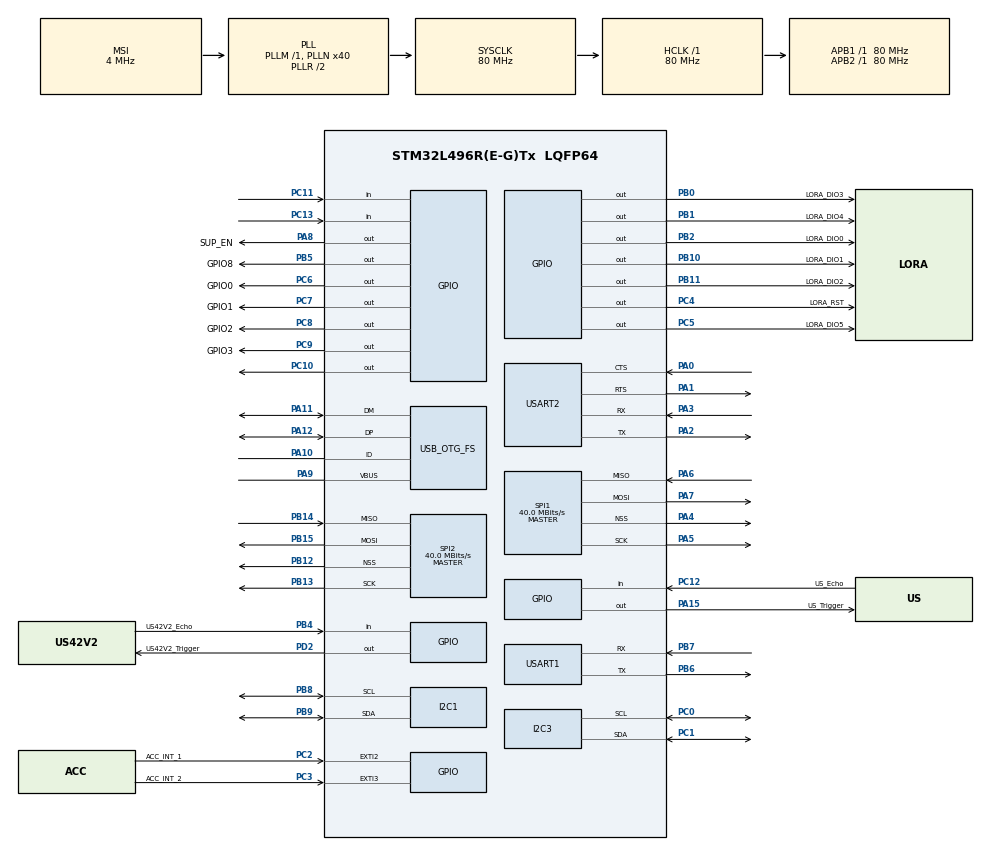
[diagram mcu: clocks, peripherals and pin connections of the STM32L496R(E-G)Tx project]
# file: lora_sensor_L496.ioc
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Mcu.Family=STM32L4
Mcu.Name=STM32L496R(E-G)Tx
Mcu.Package=LQFP64
NVIC.PriorityGroup=NVIC_PRIORITYGROUP_4
PA0.Mode=CTS_RTS
PA0.Signal=USART2_CTS
PA1.Mode=CTS_RTS
PA1.Signal=USART2_RTS
PA10.Mode=OTG/Dual_Role_Device
PA10.Signal=USB_OTG_FS_ID
PA11.Mode=OTG/Dual_Role_Device
PA11.Signal=USB_OTG_FS_DM
PA12.Mode=OTG/Dual_Role_Device
PA12.Signal=USB_OTG_FS_DP
PA13\ (JTMS/SWDIO).Mode=Trace_Asynchronous_SW
PA13\ (JTMS/SWDIO).Signal=SYS_JTMS-SWDIO
PA14\ (JTCK/SWCLK).Mode=Trace_Asynchronous_SW
PA14\ (JTCK/SWCLK).Signal=SYS_JTCK-SWCLK
PA15\ (JTDI).GPIO_Label=US_Trigger
PA15\ (JTDI).Signal=GPIO_Output
PA2.Mode=Asynchronous
PA2.Signal=USART2_TX
PA3.Mode=Asynchronous
PA3.Signal=USART2_RX
PA4.Mode=NSS_Signal_Hard_Output
PA4.Signal=SPI1_NSS
PA5.Mode=Full_Duplex_Master
PA5.Signal=SPI1_SCK
PA6.Mode=Full_Duplex_Master
PA6.Signal=SPI1_MISO
PA7.Mode=Full_Duplex_Master
PA7.Signal=SPI1_MOSI
PA8.GPIO_Label=SUP_EN
PA8.Signal=GPIO_Output
PA9.Mode=Activate_VBUS
PA9.Signal=USB_OTG_FS_VBUS
PB0.GPIO_Label=LORA_DIO3
PB0.Signal=GPIO_Output
PB1.GPIO_Label=LORA_DIO4
PB1.Signal=GPIO_Output
PB10.GPIO_Label=LORA_DIO1
PB10.Signal=GPIO_Output
PB11.GPIO_Label=LORA_DIO2
PB11.Signal=GPIO_Output
PB12.Mode=NSS_Signal_Hard_Output
PB12.Signal=SPI2_NSS
PB13.Mode=Full_Duplex_Master
PB13.Signal=SPI2_SCK
PB14.Mode=Full_Duplex_Master
PB14.Signal=SPI2_MISO
PB15.Mode=Full_Duplex_Master
PB15.Signal=SPI2_MOSI
PB2.GPIO_Label=LORA_DIO0
PB2.Signal=GPIO_Output
PB3\ (JTDO/TRACESWO).Mode=Trace_Asynchronous_SW
PB3\ (JTDO/TRACESWO).Signal=SYS_JTDO-SWO
PB4\ (NJTRST).GPIO_Label=US42V2_Echo
PB4\ (NJTRST).Signal=GPIO_Input
PB5.GPIO_Label=GPIO8
PB5.Signal=GPIO_Output
PB6.Mode=Asynchronous
PB6.Signal=USART1_TX
PB7.Mode=Asynchronous
PB7.Signal=USART1_RX
PB8.Mode=I2C
PB8.Signal=I2C1_SCL
PB9.Mode=I2C
PB9.Signal=I2C1_SDA
PC0.Mode=I2C
PC0.Signal=I2C3_SCL
PC1.Mode=I2C
PC1.Signal=I2C3_SDA
PC10.Signal=GPIO_Output
PC11.Signal=GPIO_Input
PC12.GPIO_Label=US_Echo
PC12.Signal=GPIO_Input
PC13.Signal=GPIO_Input
PC14-OSC32_IN\ (PC14).Mode=LSE-External-Oscillator
PC14-OSC32_IN\ (PC14).Signal=RCC_OSC32_IN
PC15-OSC32_OUT\ (PC15).Mode=LSE-External-Oscillator
PC15-OSC32_OUT\ (PC15).Signal=RCC_OSC32_OUT
PC2.GPIO_Label=ACC_INT_1
PC2.Signal=GPXTI2
PC3.GPIO_Label=ACC_INT_2
PC3.Signal=GPXTI3
PC4.GPIO_Label=LORA_RST
PC4.Signal=GPIO_Output
PC5.GPIO_Label=LORA_DIO5
PC5.Signal=GPIO_Output
PC6.GPIO_Label=GPIO0
PC6.Signal=GPIO_Output
PC7.GPIO_Label=GPIO1
PC7.Signal=GPIO_Output
PC8.GPIO_Label=GPIO2
PC8.Signal=GPIO_Output
PC9.GPIO_Label=GPIO3
PC9.Signal=GPIO_Output
PD2.GPIO_Label=US42V2_Trigger
PD2.Signal=GPIO_Output
PH0-OSC_IN\ (PH0).Mode=HSE-External-Oscillator
PH0-OSC_IN\ (PH0).Signal=RCC_OSC_IN
PH1-OSC_OUT\ (PH1).Mode=HSE-External-Oscillator
PH1-OSC_OUT\ (PH1).Signal=RCC_OSC_OUT
ProjectManager.HeapSize=0x200
ProjectManager.StackSize=0x400
ProjectManager.TargetToolchain=Makefile
RCC.ADCFreq_Value=48000000
RCC.AHBFreq_Value=80000000
RCC.APB1Freq_Value=80000000
RCC.APB1TimFreq_Value=80000000
RCC.APB2Freq_Value=80000000
RCC.APB2TimFreq_Value=80000000
RCC.CortexFreq_Value=80000000
RCC.HCLKFreq_Value=80000000
RCC.HSE_VALUE=8000000
RCC.HSI48_VALUE=48000000
RCC.HSI_VALUE=16000000
RCC.MSI_VALUE=4000000
RCC.PLLN=40
RCC.PLLSAI1N=24
RCC.SYSCLKFreq_VALUE=80000000
RCC.SYSCLKSource=RCC_SYSCLKSOURCE_PLLCLK
RCC.USBFreq_Value=48000000
RCC.VCOOutputFreq_Value=160000000
SPI1.CalculateBaudRate=40.0 MBits/s
SPI1.Direction=SPI_DIRECTION_2LINES
SPI1.Mode=SPI_MODE_MASTER
SPI1.VirtualNSS=VM_NSSHARD
SPI1.VirtualType=VM_MASTER
SPI2.CalculateBaudRate=40.0 MBits/s
SPI2.Direction=SPI_DIRECTION_2LINES
SPI2.Mode=SPI_MODE_MASTER
SPI2.VirtualNSS=VM_NSSHARD
SPI2.VirtualType=VM_MASTER
USART1.VirtualMode-Asynchronous=VM_ASYNC
USART2.VirtualMode-Asynchronous=VM_ASYNC
board=custom

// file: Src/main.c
/* USER CODE BEGIN Header */
/**
 ******************************************************************************
 * @file           : main.c
 * @brief          : Main program body
 ******************************************************************************
 * @attention
 *
 * <h2><center>&copy; Copyright (c) 2020 STMicroelectronics.
 * All rights reserved.</center></h2>
 *
 * This software component is licensed by ST under BSD 3-Clause license,
 * the "License"; You may not use this file except in compliance with the
 * License. You may obtain a copy of the License at:
 *                        opensource.org/licenses/BSD-3-Clause
 *
 ******************************************************************************
 */
/* USER CODE END Header */

#include "main.h"

/* USER CODE BEGIN Includes */
#include "dwt_stm32_delay.h"
#include "time.h"

/* USER CODE END Includes */

/* USER CODE BEGIN PD */
#define SensorAddress 0xE0
#define RangeCommand 0x51
/* USER CODE END PD */

I2C_HandleTypeDef hi2c1;
I2C_HandleTypeDef hi2c3;

SPI_HandleTypeDef hspi1;
SPI_HandleTypeDef hspi2;

UART_HandleTypeDef huart1;
UART_HandleTypeDef huart2;

/* USER CODE BEGIN PV */
uint16_t dev = 0x52;
int status = 0;
volatile int IntCount;

/* USER CODE END PV */

void SystemClock_Config(void);
static void MX_GPIO_Init(void);
static void MX_I2C1_Init(void);
static void MX_I2C3_Init(void);
static void MX_SPI1_Init(void);
static void MX_SPI2_Init(void);
static void MX_USART1_UART_Init(void);
static void MX_USART2_UART_Init(void);
static void MX_USB_OTG_FS_USB_Init(void);
/* USER CODE BEGIN PFP */
uint32_t test_sensor_rcw001(void);
uint32_t test_sensor_us100(void);
uint32_t test_sensor_us42v2(void);
uint32_t OnMeasureTimerEvent(void *context);
/* USER CODE END PFP */

int main(void) {
	/* USER CODE BEGIN 1 */

	uint8_t byteData, sensorState = 0;
	uint16_t wordData;
	uint8_t ToFSensor = 1; // 0=Left, 1=Center(default), 2=Right
	uint16_t Distance;
	uint16_t SignalRate;
	uint16_t AmbientRate;
	uint16_t SpadNum;
	uint8_t RangeStatus;
	uint8_t dataReady;
	uint8_t distanceMode;

	/* USER CODE END 1 */

	/* MCU Configuration--------------------------------------------------------*/

	/* Reset of all peripherals, Initializes the Flash interface and the Systick. */
	HAL_Init();

	/* Configure the system clock */
	SystemClock_Config();

	/* Initialize all configured peripherals */
	MX_GPIO_Init();
	MX_I2C1_Init();
	MX_I2C3_Init();
	MX_SPI1_Init();
	MX_SPI2_Init();
	MX_USART1_UART_Init();
	MX_USART2_UART_Init();
	MX_USB_OTG_FS_USB_Init();
	/* USER CODE BEGIN 2 */
	SEGGER_RTT_Init();
	XNUCLEO53L1A1_Init();
	uint32_t distance_rcw001;
	uint32_t distance_us100;
	uint32_t distance_us42v2;

	/* Those basic I2C read functions can be used to check youDWT_Delay_Init();r own I2C functions */
	status = VL53L1_RdByte(dev, 0x010F, &byteData);
	SEGGER_RTT_printf(0, "VL53L1X Model_ID: %X\n", byteData);
	status = VL53L1_RdByte(dev, 0x0110, &byteData);
	SEGGER_RTT_printf(0, "VL53L1X Module_Type: %X\n", byteData);
	status = VL53L1_RdWord(dev, 0x010F, &wordData);
	SEGGER_RTT_printf(0, "VL53L1X: %X\n", wordData);
	while (sensorState == 0) {
		status = VL53L1X_BootState(dev, &sensorState);
		HAL_Delay(2);
	}
	SEGGER_RTT_printf(0, "Chip booted\n");
	/* This function must to be called to initialize the sensor with the default setting  */
	status = VL53L1X_SensorInit(dev);
	/* Optional functions to be used to change the main ranging parameters according the application requirements to get the best ranging performances */
	status = VL53L1X_SetDistanceMode(dev, 2); /* 1=short, 2=long */
	status = VL53L1X_SetTimingBudgetInMs(dev, 100); /* in ms possible values [20, 50, 100, 200, 500] */
	status = VL53L1X_SetInterMeasurementInMs(dev, 100); /* in ms, IM must be > = TB */
	//  status = VL53L1X_SetOffset(dev,20); /* offset compensation in mm */
	//  status = VL53L1X_SetROI(dev, 16, 16); /* minimum ROI 4,4 */
	//	status = VL53L1X_CalibrateOffset(dev, 140, &offset); /* may take few second to perform the offset cal*/
	//	status = VL53L1X_CalibrateXtalk(dev, 1000, &xtalk); /* may take few second to perform the xtalk cal */
	SEGGER_RTT_printf(0, "VL53L1X Ultra Lite Driver Example running ...\n");
	status = VL53L1X_StartRanging(dev); /* This function has to be called to enable the ranging */

	/* USER CODE END 2 */

	/* Infinite loop */
	while (1) {

		/* USER CODE BEGIN 3 */
		while (dataReady == 0) {
			status = VL53L1X_CheckForDataReady(dev, &dataReady);
			HAL_Delay(2);
		}
		dataReady = 0;
		//		status = VL53L1X_GetRangeStatus(dev, &RangeStatus);
		status = VL53L1X_GetDistance(dev, &Distance);
		//		status = VL53L1X_GetSignalRate(dev, &SignalRate);
		//		status = VL53L1X_GetAmbientRate(dev, &AmbientRate);
		//		status = VL53L1X_GetSpadNb(dev, &SpadNum);
		//		status = VL53L1X_SetDistanceMode(dev, distanceMode);
		//		status = VL53L1X_ClearInterrupt(dev); /* clear interrupt has to be called to enable next interrupt*/
		//		SEGGER_RTT_printf(0,
		//				"RangeStatus =%u, Distance= %u, SignalRate = %u, AmbientRate = %u, SpadNum = %u, DistanceMode = %u\n",
		//				RangeStatus, Distance, SignalRate, AmbientRate, SpadNum,
		//				distanceMode);
//		distance_us100 = test_sensor_us100();
		distance_rcw001 = test_sensor_rcw001();

		distance_us42v2 = OnMeasureTimerEvent("Hung");
		SEGGER_RTT_printf(0,
				"Distance from VL53L1X is : %u , Distance from RCW001 is : %u , Distance from US-100 is : %u , Distance from US-42V2 is : %u\n",
				Distance, distance_rcw001, distance_us100, distance_us42v2);
		HAL_Delay(200);
	}
	/* USER CODE END 3 */
}

void SystemClock_Config(void) {
	RCC_OscInitTypeDef RCC_OscInitStruct = { 0 };
	RCC_ClkInitTypeDef RCC_ClkInitStruct = { 0 };
	RCC_PeriphCLKInitTypeDef PeriphClkInit = { 0 };

	/** Configure LSE Drive Capability
	 */
	HAL_PWR_EnableBkUpAccess();
	__HAL_RCC_LSEDRIVE_CONFIG(RCC_LSEDRIVE_LOW);
	/** Initializes the CPU, AHB and APB busses clocks
	 */
	RCC_OscInitStruct.OscillatorType = RCC_OSCILLATORTYPE_LSE
			| RCC_OSCILLATORTYPE_MSI;
	RCC_OscInitStruct.LSEState = RCC_LSE_ON;
	RCC_OscInitStruct.MSIState = RCC_MSI_ON;
	RCC_OscInitStruct.MSICalibrationValue = 0;
	RCC_OscInitStruct.MSIClockRange = RCC_MSIRANGE_6;
	RCC_OscInitStruct.PLL.PLLState = RCC_PLL_ON;
	RCC_OscInitStruct.PLL.PLLSource = RCC_PLLSOURCE_MSI;
	RCC_OscInitStruct.PLL.PLLM = 1;
	RCC_OscInitStruct.PLL.PLLN = 40;
	RCC_OscInitStruct.PLL.PLLP = RCC_PLLP_DIV2;
	RCC_OscInitStruct.PLL.PLLQ = RCC_PLLQ_DIV2;
	RCC_OscInitStruct.PLL.PLLR = RCC_PLLR_DIV2;
	if (HAL_RCC_OscConfig(&RCC_OscInitStruct) != HAL_OK) {
		Error_Handler();
	}
	/** Initializes the CPU, AHB and APB busses clocks
	 */
	RCC_ClkInitStruct.ClockType = RCC_CLOCKTYPE_HCLK | RCC_CLOCKTYPE_SYSCLK
			| RCC_CLOCKTYPE_PCLK1 | RCC_CLOCKTYPE_PCLK2;
	RCC_ClkInitStruct.SYSCLKSource = RCC_SYSCLKSOURCE_PLLCLK;
	RCC_ClkInitStruct.AHBCLKDivider = RCC_SYSCLK_DIV1;
	RCC_ClkInitStruct.APB1CLKDivider = RCC_HCLK_DIV1;
	RCC_ClkInitStruct.APB2CLKDivider = RCC_HCLK_DIV1;

	if (HAL_RCC_ClockConfig(&RCC_ClkInitStruct, FLASH_LATENCY_4) != HAL_OK) {
		Error_Handler();
	}
	PeriphClkInit.PeriphClockSelection = RCC_PERIPHCLK_USART1
			| RCC_PERIPHCLK_USART2 | RCC_PERIPHCLK_I2C1 | RCC_PERIPHCLK_I2C3
			| RCC_PERIPHCLK_USB;
	PeriphClkInit.Usart1ClockSelection = RCC_USART1CLKSOURCE_PCLK2;
	PeriphClkInit.Usart2ClockSelection = RCC_USART2CLKSOURCE_PCLK1;
	PeriphClkInit.I2c1ClockSelection = RCC_I2C1CLKSOURCE_PCLK1;
	PeriphClkInit.I2c3ClockSelection = RCC_I2C3CLKSOURCE_PCLK1;
	PeriphClkInit.UsbClockSelection = RCC_USBCLKSOURCE_PLLSAI1;
	PeriphClkInit.PLLSAI1.PLLSAI1Source = RCC_PLLSOURCE_MSI;
	PeriphClkInit.PLLSAI1.PLLSAI1M = 1;
	PeriphClkInit.PLLSAI1.PLLSAI1N = 24;
	PeriphClkInit.PLLSAI1.PLLSAI1P = RCC_PLLP_DIV2;
	PeriphClkInit.PLLSAI1.PLLSAI1Q = RCC_PLLQ_DIV2;
	PeriphClkInit.PLLSAI1.PLLSAI1R = RCC_PLLR_DIV2;
	PeriphClkInit.PLLSAI1.PLLSAI1ClockOut = RCC_PLLSAI1_48M2CLK;
	if (HAL_RCCEx_PeriphCLKConfig(&PeriphClkInit) != HAL_OK) {
		Error_Handler();
	}
	/** Configure the main internal regulator output voltage
	 */
	if (HAL_PWREx_ControlVoltageScaling(PWR_REGULATOR_VOLTAGE_SCALE1)
			!= HAL_OK) {
		Error_Handler();
	}
	/** Enable MSI Auto calibration
	 */
	HAL_RCCEx_EnableMSIPLLMode();
}

static void MX_I2C1_Init(void) {

	hi2c1.Instance = I2C1;
	hi2c1.Init.Timing = 0x10909CEC;
	hi2c1.Init.OwnAddress1 = 0;
	hi2c1.Init.AddressingMode = I2C_ADDRESSINGMODE_7BIT;
	hi2c1.Init.DualAddressMode = I2C_DUALADDRESS_DISABLE;
	hi2c1.Init.OwnAddress2 = 0;
	hi2c1.Init.OwnAddress2Masks = I2C_OA2_NOMASK;
	hi2c1.Init.GeneralCallMode = I2C_GENERALCALL_DISABLE;
	hi2c1.Init.NoStretchMode = I2C_NOSTRETCH_DISABLE;
	if (HAL_I2C_Init(&hi2c1) != HAL_OK) {
		Error_Handler();
	}
	/** Configure Analogue filter
	 */
	if (HAL_I2CEx_ConfigAnalogFilter(&hi2c1, I2C_ANALOGFILTER_ENABLE)
			!= HAL_OK) {
		Error_Handler();
	}
	/** Configure Digital filter
	 */
	if (HAL_I2CEx_ConfigDigitalFilter(&hi2c1, 0) != HAL_OK) {
		Error_Handler();
	}

}

static void MX_I2C3_Init(void) {

	hi2c3.Instance = I2C3;
	hi2c3.Init.Timing = 0x10909CEC;
	hi2c3.Init.OwnAddress1 = 0;
	hi2c3.Init.AddressingMode = I2C_ADDRESSINGMODE_7BIT;
	hi2c3.Init.DualAddressMode = I2C_DUALADDRESS_DISABLE;
	hi2c3.Init.OwnAddress2 = 0;
	hi2c3.Init.OwnAddress2Masks = I2C_OA2_NOMASK;
	hi2c3.Init.GeneralCallMode = I2C_GENERALCALL_DISABLE;
	hi2c3.Init.NoStretchMode = I2C_NOSTRETCH_DISABLE;
	if (HAL_I2C_Init(&hi2c3) != HAL_OK) {
		Error_Handler();
	}
	/** Configure Analogue filter
	 */
	if (HAL_I2CEx_ConfigAnalogFilter(&hi2c3, I2C_ANALOGFILTER_ENABLE)
			!= HAL_OK) {
		Error_Handler();
	}
	/** Configure Digital filter
	 */
	if (HAL_I2CEx_ConfigDigitalFilter(&hi2c3, 0) != HAL_OK) {
		Error_Handler();
	}

}

static void MX_SPI1_Init(void) {

	/* SPI1 parameter configuration*/
	hspi1.Instance = SPI1;
	hspi1.Init.Mode = SPI_MODE_MASTER;
	hspi1.Init.Direction = SPI_DIRECTION_2LINES;
	hspi1.Init.DataSize = SPI_DATASIZE_4BIT;
	hspi1.Init.CLKPolarity = SPI_POLARITY_LOW;
	hspi1.Init.CLKPhase = SPI_PHASE_1EDGE;
	hspi1.Init.NSS = SPI_NSS_HARD_OUTPUT;
	hspi1.Init.BaudRatePrescaler = SPI_BAUDRATEPRESCALER_2;
	hspi1.Init.FirstBit = SPI_FIRSTBIT_MSB;
	hspi1.Init.TIMode = SPI_TIMODE_DISABLE;
	hspi1.Init.CRCCalculation = SPI_CRCCALCULATION_DISABLE;
	hspi1.Init.CRCPolynomial = 7;
	hspi1.Init.CRCLength = SPI_CRC_LENGTH_DATASIZE;
	hspi1.Init.NSSPMode = SPI_NSS_PULSE_ENABLE;
	if (HAL_SPI_Init(&hspi1) != HAL_OK) {
		Error_Handler();
	}

}

static void MX_SPI2_Init(void) {

	/* SPI2 parameter configuration*/
	hspi2.Instance = SPI2;
	hspi2.Init.Mode = SPI_MODE_MASTER;
	hspi2.Init.Direction = SPI_DIRECTION_2LINES;
	hspi2.Init.DataSize = SPI_DATASIZE_4BIT;
	hspi2.Init.CLKPolarity = SPI_POLARITY_LOW;
	hspi2.Init.CLKPhase = SPI_PHASE_1EDGE;
	hspi2.Init.NSS = SPI_NSS_HARD_OUTPUT;
	hspi2.Init.BaudRatePrescaler = SPI_BAUDRATEPRESCALER_2;
	hspi2.Init.FirstBit = SPI_FIRSTBIT_MSB;
	hspi2.Init.TIMode = SPI_TIMODE_DISABLE;
	hspi2.Init.CRCCalculation = SPI_CRCCALCULATION_DISABLE;
	hspi2.Init.CRCPolynomial = 7;
	hspi2.Init.CRCLength = SPI_CRC_LENGTH_DATASIZE;
	hspi2.Init.NSSPMode = SPI_NSS_PULSE_ENABLE;
	if (HAL_SPI_Init(&hspi2) != HAL_OK) {
		Error_Handler();
	}

}

static void MX_USART1_UART_Init(void) {

	huart1.Instance = USART1;
	huart1.Init.BaudRate = 115200;
	huart1.Init.WordLength = UART_WORDLENGTH_8B;
	huart1.Init.StopBits = UART_STOPBITS_1;
	huart1.Init.Parity = UART_PARITY_NONE;
	huart1.Init.Mode = UART_MODE_TX_RX;
	huart1.Init.HwFlowCtl = UART_HWCONTROL_NONE;
	huart1.Init.OverSampling = UART_OVERSAMPLING_16;
	huart1.Init.OneBitSampling = UART_ONE_BIT_SAMPLE_DISABLE;
	huart1.AdvancedInit.AdvFeatureInit = UART_ADVFEATURE_NO_INIT;
	if (HAL_UART_Init(&huart1) != HAL_OK) {
		Error_Handler();
	}

}

static void MX_USART2_UART_Init(void) {

	huart2.Instance = USART2;
	huart2.Init.BaudRate = 115200;
	huart2.Init.WordLength = UART_WORDLENGTH_8B;
	huart2.Init.StopBits = UART_STOPBITS_1;
	huart2.Init.Parity = UART_PARITY_NONE;
	huart2.Init.Mode = UART_MODE_TX_RX;
	huart2.Init.HwFlowCtl = UART_HWCONTROL_RTS_CTS;
	huart2.Init.OverSampling = UART_OVERSAMPLING_16;
	huart2.Init.OneBitSampling = UART_ONE_BIT_SAMPLE_DISABLE;
	huart2.AdvancedInit.AdvFeatureInit = UART_ADVFEATURE_NO_INIT;
	if (HAL_UART_Init(&huart2) != HAL_OK) {
		Error_Handler();
	}

}

static void MX_USB_OTG_FS_USB_Init(void) {

}

static void MX_GPIO_Init(void) {
	GPIO_InitTypeDef GPIO_InitStruct = { 0 };

	/* GPIO Ports Clock Enable */
	__HAL_RCC_GPIOC_CLK_ENABLE();
	__HAL_RCC_GPIOH_CLK_ENABLE();
	__HAL_RCC_GPIOA_CLK_ENABLE();
	__HAL_RCC_GPIOB_CLK_ENABLE();
	__HAL_RCC_GPIOD_CLK_ENABLE();

	/*Configure GPIO pin Output Level */
	HAL_GPIO_WritePin(GPIOC,
			LORA_RST_Pin | LORA_DIO5_Pin | GPIO0_Pin | GPIO1_Pin | GPIO2_Pin
					| GPIO3_Pin | GPIO_PIN_10, GPIO_PIN_RESET);

	/*Configure GPIO pin Output Level */
	HAL_GPIO_WritePin(GPIOB,
			LORA_DIO3_Pin | LORA_DIO4_Pin | LORA_DIO0_Pin | LORA_DIO1_Pin
					| LORA_DIO2_Pin | GPIO8_Pin, GPIO_PIN_RESET);

	/*Configure GPIO pin Output Level */
	HAL_GPIO_WritePin(GPIOA, SUP_EN_Pin | US_Trigger_Pin, GPIO_PIN_RESET);

	/*Configure GPIO pin Output Level */
	HAL_GPIO_WritePin(US42V2_Trigger_GPIO_Port, US42V2_Trigger_Pin,
			GPIO_PIN_RESET);

	/*Configure GPIO pins : PC13 PC11 US_Echo_Pin */
	GPIO_InitStruct.Pin = GPIO_PIN_13 | GPIO_PIN_11 | US_Echo_Pin;
	GPIO_InitStruct.Mode = GPIO_MODE_INPUT;
	GPIO_InitStruct.Pull = GPIO_NOPULL;
	HAL_GPIO_Init(GPIOC, &GPIO_InitStruct);

	/*Configure GPIO pins : ACC_INT_1_Pin ACC_INT_2_Pin */
	GPIO_InitStruct.Pin = ACC_INT_1_Pin | ACC_INT_2_Pin;
	GPIO_InitStruct.Mode = GPIO_MODE_IT_RISING;
	GPIO_InitStruct.Pull = GPIO_NOPULL;
	HAL_GPIO_Init(GPIOC, &GPIO_InitStruct);

	/*Configure GPIO pins : LORA_RST_Pin LORA_DIO5_Pin GPIO0_Pin GPIO1_Pin
	 GPIO2_Pin GPIO3_Pin PC10 */
	GPIO_InitStruct.Pin = LORA_RST_Pin | LORA_DIO5_Pin | GPIO0_Pin | GPIO1_Pin
			| GPIO2_Pin | GPIO3_Pin | GPIO_PIN_10;
	GPIO_InitStruct.Mode = GPIO_MODE_OUTPUT_PP;
	GPIO_InitStruct.Pull = GPIO_NOPULL;
	GPIO_InitStruct.Speed = GPIO_SPEED_FREQ_LOW;
	HAL_GPIO_Init(GPIOC, &GPIO_InitStruct);

	/*Configure GPIO pins : LORA_DIO3_Pin LORA_DIO4_Pin LORA_DIO0_Pin LORA_DIO1_Pin
	 LORA_DIO2_Pin GPIO8_Pin */
	GPIO_InitStruct.Pin = LORA_DIO3_Pin | LORA_DIO4_Pin | LORA_DIO0_Pin
			| LORA_DIO1_Pin | LORA_DIO2_Pin | GPIO8_Pin;
	GPIO_InitStruct.Mode = GPIO_MODE_OUTPUT_PP;
	GPIO_InitStruct.Pull = GPIO_NOPULL;
	GPIO_InitStruct.Speed = GPIO_SPEED_FREQ_LOW;
	HAL_GPIO_Init(GPIOB, &GPIO_InitStruct);

	/*Configure GPIO pins : SUP_EN_Pin US_Trigger_Pin */
	GPIO_InitStruct.Pin = SUP_EN_Pin | US_Trigger_Pin;
	GPIO_InitStruct.Mode = GPIO_MODE_OUTPUT_PP;
	GPIO_InitStruct.Pull = GPIO_NOPULL;
	GPIO_InitStruct.Speed = GPIO_SPEED_FREQ_LOW;
	HAL_GPIO_Init(GPIOA, &GPIO_InitStruct);

	/*Configure GPIO pin : PA9 */
	GPIO_InitStruct.Pin = GPIO_PIN_9;
	GPIO_InitStruct.Mode = GPIO_MODE_INPUT;
	GPIO_InitStruct.Pull = GPIO_NOPULL;
	HAL_GPIO_Init(GPIOA, &GPIO_InitStruct);

	/*Configure GPIO pins : PA10 PA11 PA12 */
	GPIO_InitStruct.Pin = GPIO_PIN_10 | GPIO_PIN_11 | GPIO_PIN_12;
	GPIO_InitStruct.Mode = GPIO_MODE_AF_PP;
	GPIO_InitStruct.Pull = GPIO_NOPULL;
	GPIO_InitStruct.Speed = GPIO_SPEED_FREQ_VERY_HIGH;
	GPIO_InitStruct.Alternate = GPIO_AF10_OTG_FS;
	HAL_GPIO_Init(GPIOA, &GPIO_InitStruct);

	/*Configure GPIO pin : US42V2_Trigger_Pin */
	GPIO_InitStruct.Pin = US42V2_Trigger_Pin;
	GPIO_InitStruct.Mode = GPIO_MODE_OUTPUT_PP;
	GPIO_InitStruct.Pull = GPIO_NOPULL;
	GPIO_InitStruct.Speed = GPIO_SPEED_FREQ_LOW;
	HAL_GPIO_Init(US42V2_Trigger_GPIO_Port, &GPIO_InitStruct);

	/*Configure GPIO pin : US42V2_Echo_Pin */
	GPIO_InitStruct.Pin = US42V2_Echo_Pin;
	GPIO_InitStruct.Mode = GPIO_MODE_INPUT;
	GPIO_InitStruct.Pull = GPIO_NOPULL;
	HAL_GPIO_Init(US42V2_Echo_GPIO_Port, &GPIO_InitStruct);

}

/* USER CODE BEGIN 4 */
uint32_t test_sensor_rcw001(void) {
	uint32_t local_time = 0;

//	HAL_GPIO_WritePin(GPIOA, GPIO_PIN_1, GPIO_PIN_RESET); // pull the TRIG pin HIGH
//	DWT_Delay_us(2);  // wait for 2 us

	HAL_GPIO_WritePin(GPIOC, GPIO_PIN_10, GPIO_PIN_SET); // pull the TRIG pin HIGH
	DWT_Delay_us(10);  // wait for 10 us
	HAL_GPIO_WritePin(GPIOC, GPIO_PIN_10, GPIO_PIN_RESET); // pull the TRIG pin low

	// read the time for which the pin is high

	while (!(HAL_GPIO_ReadPin(GPIOC, GPIO_PIN_11)))
		;  // wait for the ECHO pin to go high
	while (HAL_GPIO_ReadPin(GPIOC, GPIO_PIN_11))    // while the pin is high
	{
		local_time++;   // measure time for which the pin is high
		DWT_Delay_us(1);
	}
	return local_time * 0.034;
}

uint32_t test_sensor_us100(void) {
	uint32_t local_time = 0;

	HAL_GPIO_WritePin(GPIOA, GPIO_PIN_15, GPIO_PIN_RESET); // pull the TRIG pin HIGH
	DWT_Delay_us(2);  // wait for 2 us

	HAL_GPIO_WritePin(GPIOA, GPIO_PIN_15, GPIO_PIN_SET); // pull the TRIG pin HIGH
	DWT_Delay_us(10);  // wait for 10 us
	HAL_GPIO_WritePin(GPIOA, GPIO_PIN_15, GPIO_PIN_RESET); // pull the TRIG pin low

	// read the time for which the pin is high

	while (!(HAL_GPIO_ReadPin(GPIOC, GPIO_PIN_12)))
		;  // wait for the ECHO pin to go high
	while (HAL_GPIO_ReadPin(GPIOC, GPIO_PIN_12))    // while the pin is high
	{
		local_time++;   // measure time for which the pin is high
		DWT_Delay_us(1);
	}
	return local_time * 0.034;
}
uint32_t test_sensor_us42v2(void) {
	uint32_t local_time = 0;

//	HAL_GPIO_WritePin(GPIOD, GPIO_PIN_2, GPIO_PIN_RESET); // pull the TRIG pin HIGH
//	DWT_Delay_us(2);  // wait for 2 us

	HAL_GPIO_WritePin(GPIOD, GPIO_PIN_2, GPIO_PIN_SET); // pull the TRIG pin HIGH
	DWT_Delay_us(10);  // wait for 10 us
	HAL_GPIO_WritePin(GPIOD, GPIO_PIN_2, GPIO_PIN_RESET); // pull the TRIG pin low

	// read the time for which the pin is high

	while (!(HAL_GPIO_ReadPin(GPIOC, GPIO_PIN_13)))
		;  // wait for the ECHO pin to go high
	while (HAL_GPIO_ReadPin(GPIOC, GPIO_PIN_13))    // while the pin is high
	{
		local_time++;   // measure time for which the pin is high
		DWT_Delay_us(1);
	}
	return local_time * 0.034;
}

//uint32_t OnMeasureTimerEvent(void *context) {
//	uint32_t range;
//	uint8_t range_array[2] = { 0, 0 };
//	uint8_t cmd = RangeCommand;
//	HAL_I2C_Master_Transmit(&hi2c3, SensorAddress, &cmd, 2, 0xFF);
//	HAL_Delay(100);
//	HAL_I2C_Master_Receive(&hi2c3, SensorAddress, &range_array, 2, 0xFF);
////	I2cReadBuffer(&hi2c3, SensorAddress, 0x00, range_array, 2);
//	range = (range_array[0] << 8) | range_array[1];
//	printf("distance = %d cm\r\n", range);
//
//	return range;
//}

uint32_t OnMeasureTimerEvent(void *context) {
	uint32_t range;
	uint8_t range_array[2] = { 0, 0 };
	uint8_t cmd = RangeCommand;
	I2cWrite(&hi2c3, SensorAddress, 0x00, cmd);
	HAL_Delay(100);
	I2cReadBuffer(&hi2c3, SensorAddress, 0x00, range_array, 2);
	range = (range_array[0] << 8) | range_array[1];
	return range;
}

/* USER CODE END 4 */

void Error_Handler(void) {
}

/************************ (C) COPYRIGHT STMicroelectronics *****END OF FILE****/
